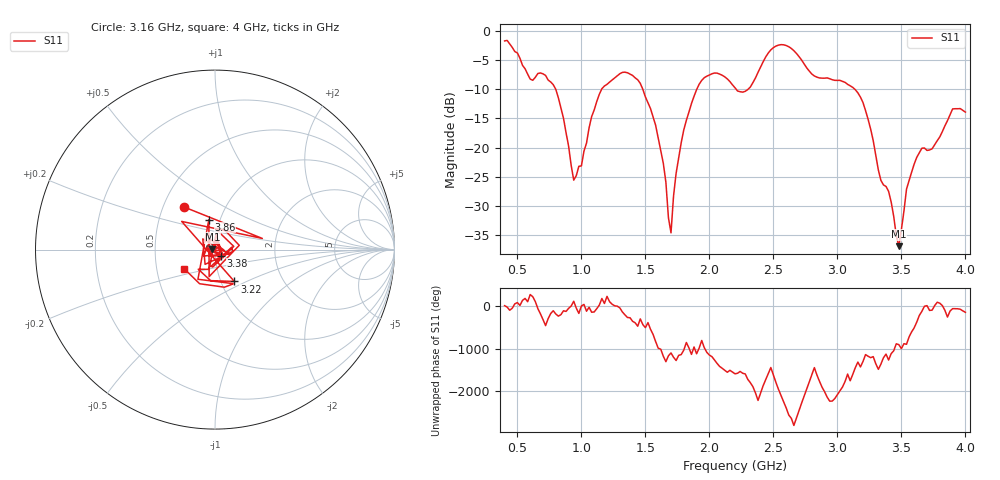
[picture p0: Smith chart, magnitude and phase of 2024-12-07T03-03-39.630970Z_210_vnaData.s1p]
!Created with skrf (http://scikit-rf.org).
# Hz S RI R 50.0
!freq ReS11 ImS11
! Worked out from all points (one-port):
!   181 points, 400 MHz to 4 GHz, reference 50 ohm
!   lowest |S11| = -36.9 dB at 3.48 GHz (marker M1), VSWR 1.03, Z = 48.6 + j0.139 ohm
!   |S11| at or under -10 dB: 799.5 MHz to 1.158 GHz (358.6 MHz wide, 36.6 % of centre); 1.48 GHz to 1.901 GHz (421.8 MHz wide, 24.9 % of centre); 3.136 GHz to end of sweep (the widest 3 of 4)
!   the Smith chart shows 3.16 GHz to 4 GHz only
!   S11 on the Smith chart (normalised r, x): 3.16 GHz: 0.64, +0.33; 3.22 GHz: 1.16, -0.43; 3.38 GHz: 1.06, -0.07; 3.86 GHz: 0.88, +0.30; 4 GHz: 0.69, -0.16
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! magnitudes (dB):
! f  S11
! 400 MHz  -1.7
! 600 MHz  -8.3
! 780 MHz  -9.2
! 860 MHz  -15.0
! 940 MHz  -25.6
! 1.14 GHz  -10.9
! 1.3 GHz  -7.3
! 1.44 GHz  -8.4
! 1.54 GHz  -13.3
! 1.64 GHz  -22.7
! 1.7 GHz  -34.6
! 1.76 GHz  -21.8
! 1.94 GHz  -8.5
! 2.2 GHz  -9.8
! 2.32 GHz  -9.6
! 2.5 GHz  -2.9
! 2.66 GHz  -3.4
! 2.82 GHz  -7.7
! 3.1 GHz  -9.4
! 3.16 GHz  -10.6
! 3.22 GHz  -13.7
! 3.34 GHz  -25.6
! 3.38 GHz  -26.6
! 3.48 GHz  -36.9
! 3.56 GHz  -25.6
! 3.66 GHz  -20.1
! 3.86 GHz  -15.4
! 4 GHz  -13.9
